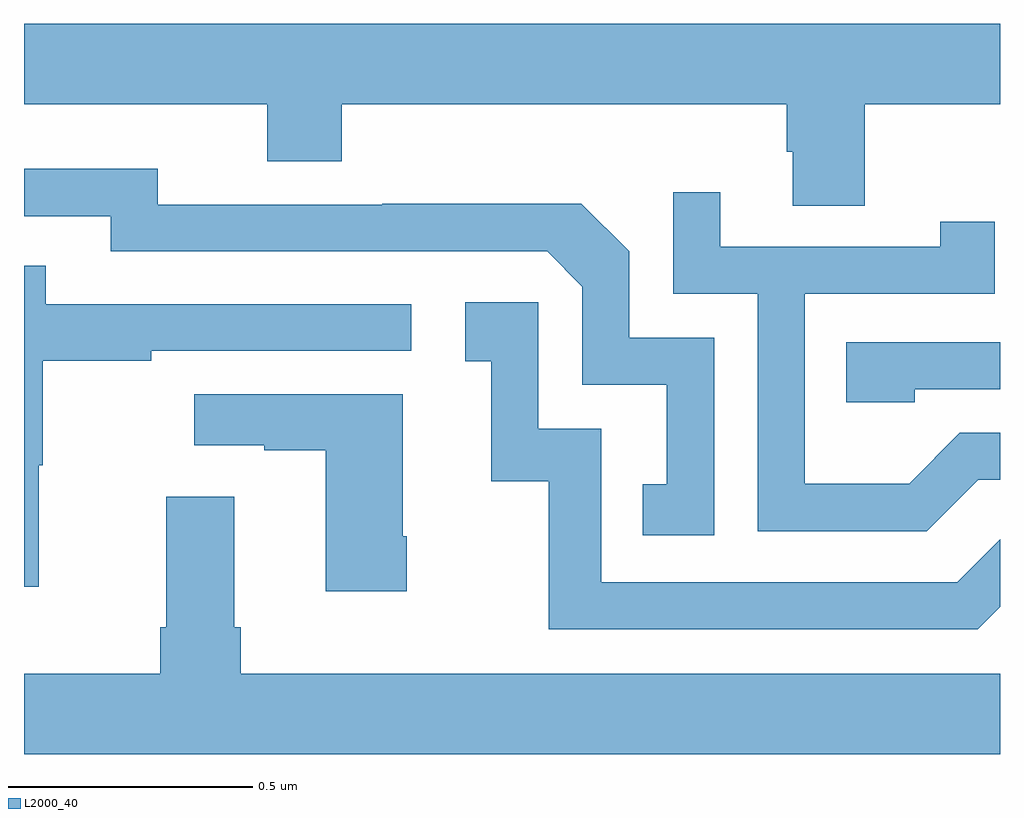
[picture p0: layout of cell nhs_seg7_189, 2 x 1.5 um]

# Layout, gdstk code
import gdstk
lib = gdstk.Library(unit=1e-6, precision=1e-09)
def P(c, l, *ps):  # polygons
    for p in ps: c.add(gdstk.Polygon(p, *l))
L2000_40 = (2000, 40)

nhs_seg7_189 = lib.new_cell('nhs_seg7_189')
P(nhs_seg7_189, L2000_40, [(114.723,1036.58),(115,1036.58),(115,1036.744),(113,1036.744),(113,1036.58),(113.498,1036.58),(113.498,1036.463),(113.651,1036.463),(113.651,1036.58),(114.563,1036.58),(114.563,1036.482),(114.575,1036.482),(114.575,1036.372),(114.723,1036.372)],
  [(114.414,1036.101),(114.24,1036.101),(114.24,1036.278),(114.142,1036.376),(113.734,1036.376),(113.734,1036.374),(113.274,1036.374),(113.274,1036.447),(113,1036.447),(113,1036.35),(113.178,1036.35),(113.178,1036.278),(114.072,1036.278),(114.144,1036.206),(114.144,1036.005),(114.317,1036.005),(114.317,1035.801),(114.268,1035.801),(114.268,1035.696),(114.414,1035.696)],
  [(114.955,1035.81),(115,1035.81),(115,1035.906),(114.918,1035.906),(114.814,1035.802),(114.6,1035.802),(114.6,1036.191),(114.989,1036.191),(114.989,1036.339),(114.878,1036.339),(114.878,1036.287),(114.427,1036.287),(114.427,1036.399),(114.33,1036.399),(114.33,1036.191),(114.504,1036.191),(114.504,1035.705),(114.85,1035.705)],
  [(113.03,1035.84),(113.038,1035.84),(113.038,1036.054),(113.261,1036.054),(113.261,1036.074),(113.794,1036.074),(113.794,1036.17),(113.045,1036.17),(113.045,1036.249),(113,1036.249),(113,1035.591),(113.03,1035.591)],
  [(115,1035.55),(115,1035.688),(114.912,1035.6),(114.183,1035.6),(114.183,1035.915),(114.054,1035.915),(114.054,1036.174),(113.904,1036.174),(113.904,1036.053),(113.957,1036.053),(113.957,1035.807),(114.075,1035.807),(114.075,1035.504),(114.954,1035.504)],
  [(114.825,1035.996),(115,1035.996),(115,1036.092),(114.685,1036.092),(114.685,1035.969),(114.825,1035.969)],
  [(113.784,1035.694),(113.776,1035.694),(113.776,1035.985),(113.349,1035.985),(113.349,1035.881),(113.492,1035.881),(113.492,1035.871),(113.618,1035.871),(113.618,1035.582),(113.784,1035.582)],
  [(115,1035.412),(113.444,1035.412),(113.444,1035.508),(113.431,1035.508),(113.431,1035.775),(113.291,1035.775),(113.291,1035.508),(113.279,1035.508),(113.279,1035.412),(113,1035.412),(113,1035.248),(115,1035.248)])

lib.write_gds('nhs_seg7_189.gds')
